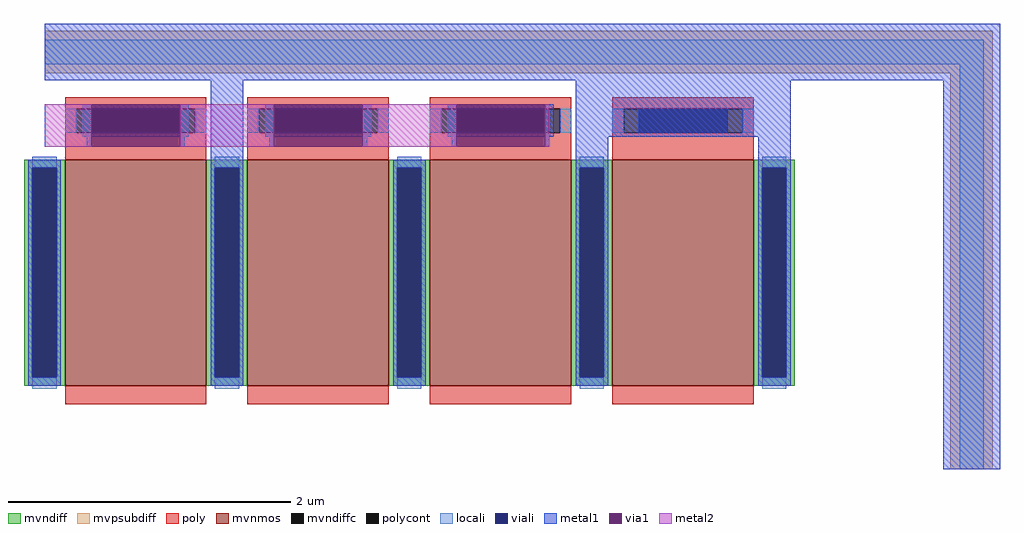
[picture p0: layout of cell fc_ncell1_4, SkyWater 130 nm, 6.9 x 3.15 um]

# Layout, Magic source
magic
tech sky130A
magscale 1 2
<< mvpsubdiff >>
rect 19 468 1360 528
rect 1300 -92 1360 468
<< locali >>
rect 19 481 1347 515
rect 1313 -92 1347 481
<< metal1 >>
rect 19 458 1370 538
rect 79 364 85 424
rect 211 364 217 424
rect 254 346 300 458
rect 337 364 343 424
rect 469 364 475 424
rect 595 364 601 424
rect 727 364 733 424
rect 770 378 1074 458
rect 770 346 816 378
rect 1028 346 1074 378
rect 1290 -92 1370 458
<< via1 >>
rect 85 364 211 424
rect 343 364 469 424
rect 601 364 727 424
<< metal2 >>
rect 19 364 85 424
rect 211 364 343 424
rect 469 364 601 424
rect 727 364 733 424
use sky130_fd_pr__nfet_g5v0d10v5_VZ2S5U  sky130_fd_pr__nfet_g5v0d10v5_VZ2S5U_0
transform 1 0 535 0 1 217
box -545 -217 545 217
<< end >>

# cell sky130_fd_pr__nfet_g5v0d10v5_VZ2S5U: kit device sky130_fd_pr__nfet_g5v0d10v5, w 1.6 l 1 m 1 nf 4 diffcov 100 polycov 100 guard 0 glc 1 grc 1 gtc 1 gbc 1 tbcov 100 rlcov 100 topc 1 botc 0 poverlap 0 doverlap 1 lmin 0.50 wmin 0.42 compatible {sky130_fd_pr__nfet_01v8 sky130_fd_pr__nfet_01v8_lvt sky130_fd_bs_flash__special_sonosfet_star sky130_fd_pr__nfet_g5v0d10v5 sky130_fd_pr__nfet_05v0_nvt sky130_fd_pr__nfet_03v3_nvt} full_metal 1 viasrc 100 viadrn 100 viagate 75 viagb 0 viagr 0 viagl 0 viagt 0
